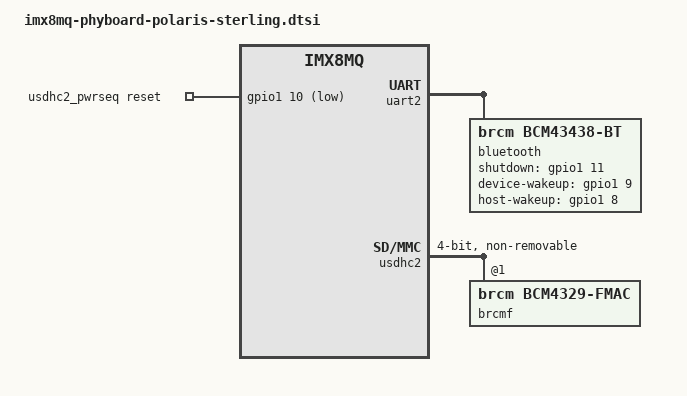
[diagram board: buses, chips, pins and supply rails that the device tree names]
// SPDX-License-Identifier: GPL-2.0
/*
 * Copyright (C) 2019 PHYTEC Messtechnik GmbH
 * Author: Janine Hagemann <j.hagemann@phytec.de>
 */

/ {
	usdhc2_pwrseq: pwr_seq {
		compatible = "mmc-pwrseq-simple";
		reset-gpios = <&gpio1 10 GPIO_ACTIVE_LOW>;
		post-power-on-delay-ms = <100>;
		power-off-delay-us = <60>;
	};
};

/* bluetooth */
&uart2 {
	pinctrl-names = "default";
	pinctrl-0 = <&pinctrl_uart2_bt>;
	assigned-clocks = <&clk IMX8MQ_CLK_UART2>;
	assigned-clock-parents = <&clk IMX8MQ_SYS1_PLL_80M>;
	uart-has-rtscts;
	fsl,dte-mode;
	/delete-property/ dma-names;
	/delete-property/ dmas;

	bluetooth {
		pinctrl-names = "default";
		pinctrl-0 = <&pinctrl_bt>;
		clocks = <&i2c_rtc>;
		clock-names = "rv3028-clkout";
		compatible = "brcm,bcm43438-bt";
		max-speed = <2000000>;
		shutdown-gpios = <&gpio1 11 GPIO_ACTIVE_HIGH>;
		device-wakeup-gpios = <&gpio1 9 GPIO_ACTIVE_HIGH>;
		host-wakeup-gpios = <&gpio1 8 GPIO_ACTIVE_HIGH>;
	};
};

/* WLAN */
&usdhc2 {
	#address-cells = <1>;
	#size-cells = <0>;
	pinctrl-names = "default";
	pinctrl-0 = <&pinctrl_usdhc2_wlan>, <&pinctrl_wlan>;
	bus-width = <4>;
	non-removable;
	no-1-8-v;
	mmc-pwrseq = <&usdhc2_pwrseq>;
	wifi-host;

	brcmf: wifi@1 {
		reg = <1>;
		compatible = "brcm,bcm4329-fmac";
		clocks = <&i2c_rtc>;
		clock-names = "rv3028-clkout";
	};
};

&iomuxc {
	pinctrl_bt: btgrp {
		fsl,pins = <
			MX8MQ_IOMUXC_GPIO1_IO08_GPIO1_IO8	0x41
			MX8MQ_IOMUXC_GPIO1_IO09_GPIO1_IO9	0x41
			MX8MQ_IOMUXC_GPIO1_IO11_GPIO1_IO11	0x41
		>;
	};

	pinctrl_uart2_bt: uart2btgrp {
		fsl,pins = <
			MX8MQ_IOMUXC_UART4_RXD_UART2_DTE_RTS_B	0x49
			MX8MQ_IOMUXC_UART4_TXD_UART2_DTE_CTS_B	0x49
			MX8MQ_IOMUXC_UART2_RXD_UART2_DTE_TX	0x49
			MX8MQ_IOMUXC_UART2_TXD_UART2_DTE_RX	0x49
		>;
	};

	pinctrl_usdhc2_wlan: usdhc2wlangrp {
		fsl,pins = <
			MX8MQ_IOMUXC_SD2_CLK_USDHC2_CLK		0x8d
			MX8MQ_IOMUXC_SD2_CMD_USDHC2_CMD		0xcf
			MX8MQ_IOMUXC_SD2_DATA0_USDHC2_DATA0	0xcf
			MX8MQ_IOMUXC_SD2_DATA1_USDHC2_DATA1	0xcf
			MX8MQ_IOMUXC_SD2_DATA2_USDHC2_DATA2	0xcf
			MX8MQ_IOMUXC_SD2_DATA3_USDHC2_DATA3	0xcf
		>;
	};

	pinctrl_wlan: wlangrp {
		fsl,pins = <
			MX8MQ_IOMUXC_GPIO1_IO10_GPIO1_IO10	0x41
		>;
	};
};
